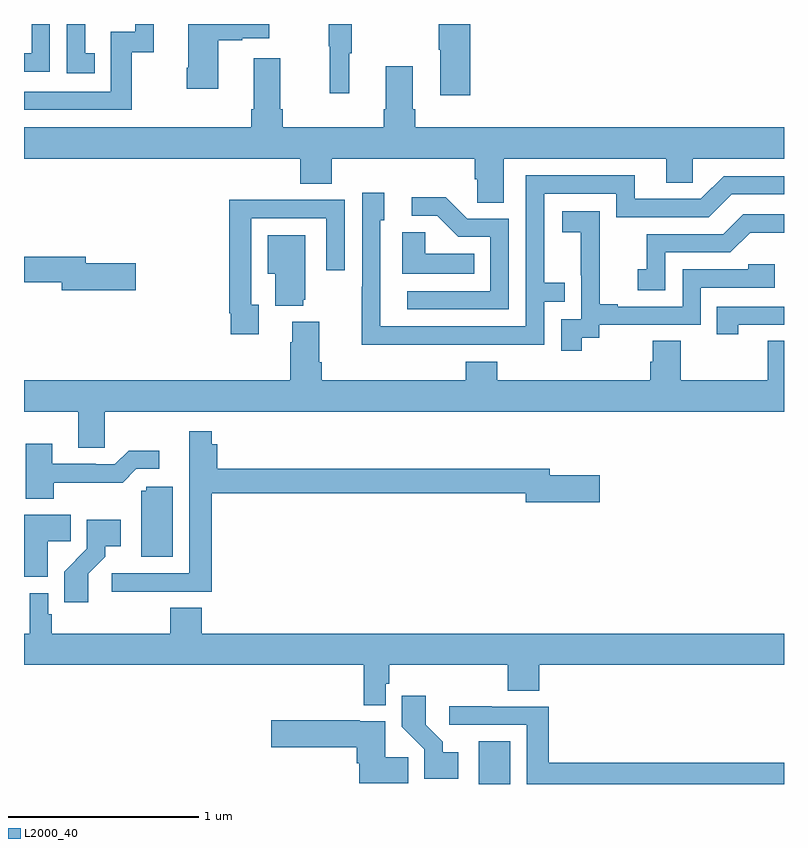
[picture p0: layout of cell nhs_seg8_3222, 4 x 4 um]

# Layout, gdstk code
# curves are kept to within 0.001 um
import gdstk
lib = gdstk.Library(unit=1e-6, precision=1e-09)
def R(c, l, rs):  # rectangles x0, y0, x1, y1
    for r in rs: c.add(gdstk.rectangle(r[:2], r[2:], *l))
def P(c, l, *ps):  # polygons
    for p in ps: c.add(gdstk.Polygon(p, *l))
L2000_40 = (2000, 40)

nhs_seg8_3222 = lib.new_cell('nhs_seg8_3222')
R(nhs_seg8_3222, L2000_40, [(313.394,1087.9,313.558,1088.126)])
P(nhs_seg8_3222, L2000_40, [(312.022,1091.815),(312.149,1091.815),(312.149,1091.825),(312.292,1091.825),(312.292,1091.9),(311.864,1091.9),(311.864,1091.671),(311.857,1091.671),(311.857,1091.559),(312.022,1091.559)],
  [(311.136,1091.9),(311.04,1091.9),(311.04,1091.746),(311,1091.746),(311,1091.649),(311.136,1091.649)],
  [(311.566,1091.751),(311.684,1091.751),(311.684,1091.9),(311.586,1091.9),(311.586,1091.859),(311.457,1091.859),(311.457,1091.544),(311,1091.544),(311,1091.448),(311.566,1091.448)],
  [(311.372,1091.745),(311.323,1091.745),(311.323,1091.9),(311.226,1091.9),(311.226,1091.64),(311.372,1091.64)],
  [(313.349,1091.9),(313.183,1091.9),(313.183,1091.764),(313.19,1091.764),(313.19,1091.526),(313.349,1091.526)],
  [(312.713,1091.747),(312.724,1091.747),(312.724,1091.9),(312.603,1091.9),(312.603,1091.784),(312.61,1091.784),(312.61,1091.535),(312.713,1091.535)],
  [(313.525,1091.192),(314.381,1091.192),(314.381,1091.065),(314.52,1091.065),(314.52,1091.192),(315,1091.192),(315,1091.356),(313.058,1091.356),(313.058,1091.452),(313.045,1091.452),(313.045,1091.677),(312.905,1091.677),(312.905,1091.452),(312.893,1091.452),(312.893,1091.356),(312.362,1091.356),(312.362,1091.452),(312.349,1091.452),(312.349,1091.719),(312.209,1091.719),(312.209,1091.452),(312.197,1091.452),(312.197,1091.356),(311,1091.356),(311,1091.192),(312.455,1091.192),(312.455,1091.059),(312.62,1091.059),(312.62,1091.192),(313.373,1091.192),(313.373,1091.083),(313.386,1091.083),(313.386,1090.96),(313.525,1090.96)],
  [(313.241,1090.212),(313.737,1090.212),(313.737,1090.437),(313.847,1090.437),(313.847,1090.538),(313.737,1090.538),(313.737,1091.007),(314.118,1091.007),(314.118,1090.884),(314.604,1090.884),(314.724,1091.004),(315,1091.004),(315,1091.1),(314.682,1091.1),(314.562,1090.98),(314.215,1090.98),(314.215,1091.103),(313.641,1091.103),(313.641,1090.308),(312.876,1090.308),(312.876,1090.866),(312.895,1090.866),(312.895,1091.011),(312.78,1091.011),(312.78,1090.517),(312.778,1090.517),(312.778,1090.211)],
  [(313.551,1090.875),(313.332,1090.875),(313.219,1090.988),(313.041,1090.988),(313.041,1090.89),(313.175,1090.89),(313.286,1090.779),(313.455,1090.779),(313.455,1090.494),(313.017,1090.494),(313.017,1090.398),(313.551,1090.398)],
  [(312.235,1090.422),(312.195,1090.422),(312.195,1090.878),(312.591,1090.878),(312.591,1090.605),(312.687,1090.605),(312.687,1090.974),(312.371,1090.974),(312.371,1090.976),(312.079,1090.976),(312.079,1090.378),(312.087,1090.378),(312.087,1090.266),(312.235,1090.266)],
  [(313.936,1090.249),(314.028,1090.249),(314.028,1090.317),(314.562,1090.317),(314.562,1090.512),(314.951,1090.512),(314.951,1090.635),(314.811,1090.635),(314.811,1090.608),(314.466,1090.608),(314.466,1090.413),(314.125,1090.413),(314.125,1090.426),(314.03,1090.426),(314.03,1090.709),(314.031,1090.709),(314.031,1090.915),(313.833,1090.915),(313.833,1090.805),(313.931,1090.805),(313.931,1090.577),(313.932,1090.577),(313.932,1090.347),(313.827,1090.347),(313.827,1090.179),(313.936,1090.179)],
  [(314.376,1090.698),(314.718,1090.698),(314.822,1090.802),(315,1090.802),(315,1090.899),(314.786,1090.899),(314.681,1090.794),(314.278,1090.794),(314.278,1090.609),(314.229,1090.609),(314.229,1090.5),(314.376,1090.5)],
  [(313.37,1090.69),(313.113,1090.69),(313.113,1090.805),(312.992,1090.805),(312.992,1090.586),(313.37,1090.586)],
  [(312.47,1090.449),(312.481,1090.449),(312.481,1090.789),(312.284,1090.789),(312.284,1090.586),(312.323,1090.586),(312.323,1090.418),(312.47,1090.418)],
  [(311.587,1090.64),(311.326,1090.64),(311.326,1090.676),(311,1090.676),(311,1090.54),(311.198,1090.54),(311.198,1090.498),(311.587,1090.498)],
  [(314.758,1090.317),(315,1090.317),(315,1090.413),(314.647,1090.413),(314.647,1090.266),(314.758,1090.266)],
  [(311.424,1089.86),(315,1089.86),(315,1090.232),(314.914,1090.232),(314.914,1090.024),(314.457,1090.024),(314.457,1090.232),(314.309,1090.232),(314.309,1090.122),(314.297,1090.122),(314.297,1090.024),(313.49,1090.024),(313.49,1090.123),(313.325,1090.123),(313.325,1090.024),(312.566,1090.024),(312.566,1090.12),(312.553,1090.12),(312.553,1090.333),(312.413,1090.333),(312.413,1090.226),(312.401,1090.226),(312.401,1090.024),(311,1090.024),(311,1089.86),(311.285,1089.86),(311.285,1089.67),(311.424,1089.67)],
  [(311.687,1088.913),(311.987,1088.913),(311.987,1089.43),(313.64,1089.43),(313.64,1089.383),(314.029,1089.383),(314.029,1089.525),(313.768,1089.525),(313.768,1089.559),(312.017,1089.559),(312.017,1089.688),(311.987,1089.688),(311.987,1089.757),(311.871,1089.757),(311.871,1089.009),(311.463,1089.009),(311.463,1088.911),(311.687,1088.911)],
  [(311.157,1089.486),(311.519,1089.485),(311.592,1089.558),(311.713,1089.558),(311.713,1089.655),(311.551,1089.655),(311.478,1089.582),(311.378,1089.582),(311.378,1089.585),(311.149,1089.585),(311.149,1089.691),(311.009,1089.691),(311.009,1089.401),(311.157,1089.401)],
  [(311.782,1089.465),(311.643,1089.465),(311.643,1089.444),(311.618,1089.444),(311.618,1089.096),(311.782,1089.096)],
  [(311.125,1089.178),(311.246,1089.178),(311.246,1089.316),(311,1089.316),(311,1088.99),(311.125,1088.99)],
  [(311.338,1089.007),(311.428,1089.097),(311.428,1089.152),(311.509,1089.152),(311.509,1089.292),(311.331,1089.292),(311.331,1089.137),(311.212,1089.018),(311.212,1088.856),(311.338,1088.856)],
  [(312.903,1088.427),(312.923,1088.427),(312.923,1088.528),(313.547,1088.528),(313.547,1088.392),(313.712,1088.392),(313.712,1088.528),(315,1088.528),(315,1088.692),(311.936,1088.692),(311.936,1088.828),(311.771,1088.828),(311.771,1088.692),(311.147,1088.692),(311.147,1088.793),(311.127,1088.793),(311.127,1088.905),(311.03,1088.905),(311.03,1088.692),(311,1088.692),(311,1088.528),(312.787,1088.528),(312.787,1088.315),(312.903,1088.315)],
  [(313.285,1088.068),(313.204,1088.068),(313.204,1088.123),(313.114,1088.213),(313.114,1088.365),(312.988,1088.365),(312.988,1088.202),(313.107,1088.083),(313.107,1087.928),(313.285,1087.928)],
  [(315,1088.012),(313.763,1088.012),(313.763,1088.307),(313.463,1088.307),(313.463,1088.31),(313.239,1088.31),(313.239,1088.211),(313.647,1088.211),(313.647,1087.9),(315,1087.9)],
  [(313.022,1088.042),(312.901,1088.042),(312.901,1088.23),(312.768,1088.23),(312.768,1088.235),(312.3,1088.235),(312.3,1088.093),(312.752,1088.093),(312.752,1088.009),(312.764,1088.009),(312.764,1087.904),(313.022,1087.904)])

lib.write_gds('nhs_seg8_3222.gds')
